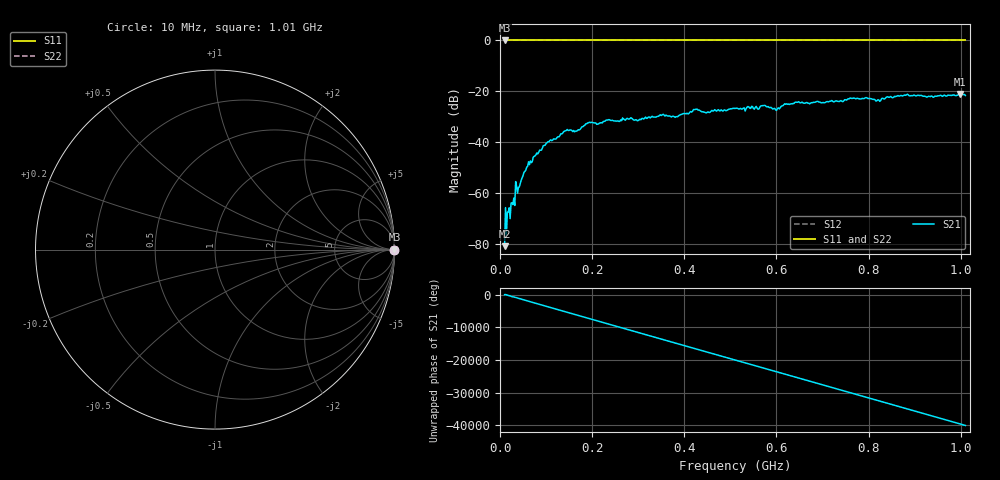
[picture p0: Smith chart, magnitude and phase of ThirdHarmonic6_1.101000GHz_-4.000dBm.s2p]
! 8/16/2025 10:21:13 AM
! C:\ANRITSUVNA\TEMP\TEMP.S2P
! CHANNEL.1
! TR.MEASUREMENT
! RAW.DATA
! RF.CORRECTION.OFF
! AVERAGING.OFF
! IF.BANDWIDTH: 5KHZ
! SWEEPTYPE:  FREQ.SWEEP(Linear)
! Reference Plane Port Info
! PORT:  PORT1  PORT2
! DISTANCE:  0  m  0  m
! TIME:  0  s  0  s
! PHASE.OFFSET:  0  deg.  0  deg.
! LOSS:  0  dB  0  dB
! REF.LOSS:  0  dB  0  dB
! REF.FREQ:  0  Hz  0  Hz
! Power Info
! POWER:  -20  dBm  -20  dBm
! EFF.POWER:  -20  dBm  -20  dBm
! SOURCE.ATTEN:  0  dB  0  dB
! TEST.ATTEN:  0  dB  0  dB
# GHZ S RI R 50.0
! FREQ.GHZ  S11RE  S11IM  S21RE  S21IM  S12RE  S12IM  S22RE  S22IM
!; PortSelection: Port_12
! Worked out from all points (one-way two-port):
!   501 points, 10 MHz to 1.01 GHz, reference 50 ohm
!   highest |S21| = -21.09 dB at 998 MHz (marker M1); lowest = -80.9 dB at 10 MHz (marker M2)
!   lowest |S11| = 0.0 dB at 10 MHz (marker M3)
!   |S11| at or under -10 dB: nowhere
!   |S22| runs from 0.0 to 0.0 dB; largest |S21 - S12| = 1.1
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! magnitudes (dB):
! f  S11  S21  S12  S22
! 10 MHz  0.0  -80.9  0.0  0.0
! 16 MHz  0.0  -67.5  0.0  0.0
! 18 MHz  0.0  -67.5  0.0  0.0
! 20 MHz  0.0  -65.8  0.0  0.0
! 38 MHz  0.0  -60.0  0.0  0.0
! 42 MHz  0.0  -57.6  0.0  0.0
! 62 MHz  0.0  -47.7  0.0  0.0
! 106 MHz  0.0  -39.8  0.0  0.0
! 142 MHz  0.0  -35.5  0.0  0.0
! 178 MHz  0.0  -33.9  0.0  0.0
! 194 MHz  0.0  -32.2  0.0  0.0
! 344 MHz  0.0  -29.8  0.0  0.0
! 382 MHz  0.0  -30.0  0.0  0.0
! 424 MHz  0.0  -27.1  0.0  0.0
! 510 MHz  0.0  -26.7  0.0  0.0
! 572 MHz  0.0  -25.6  0.0  0.0
! 602 MHz  0.0  -26.8  0.0  0.0
! 620 MHz  0.0  -25.1  0.0  0.0
! 678 MHz  0.0  -24.5  0.0  0.0
! 844 MHz  0.0  -22.4  0.0  0.0
! 998 MHz  0.0  -21.1  0.0  0.0
! 1.01 GHz  0.0  -21.7  0.0  0.0
